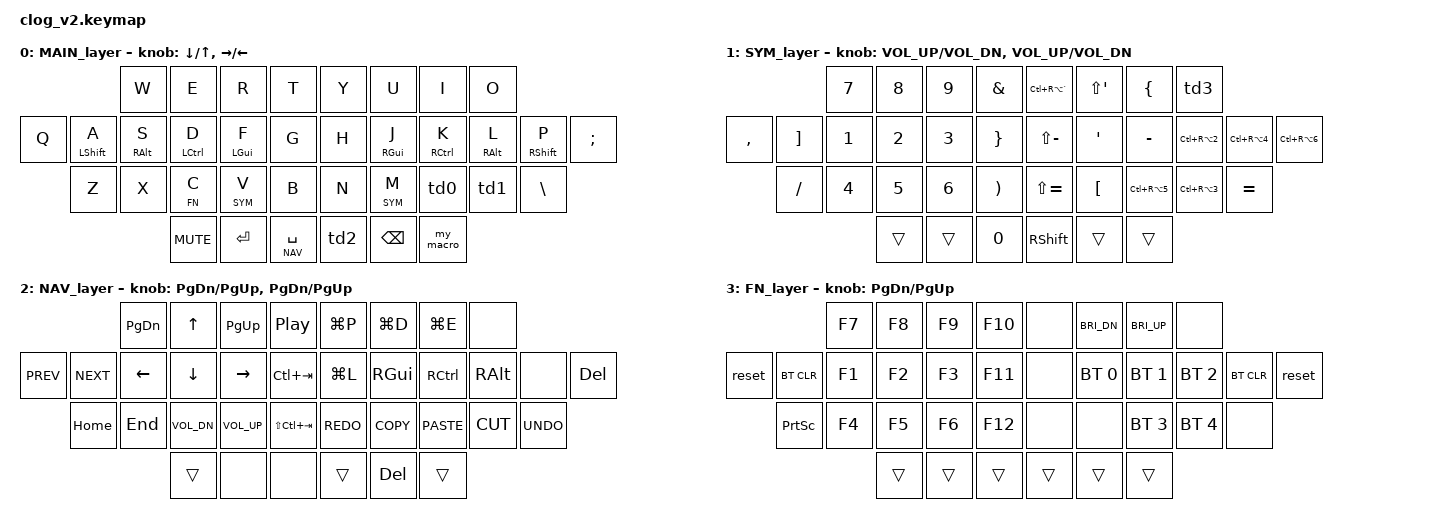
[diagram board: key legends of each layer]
#include <behaviors.dtsi>
#include <dt-bindings/zmk/keys.h>
#include <dt-bindings/zmk/bt.h>

#define MAIN 0
#define SYM 1
#define NAV 2
#define FN 3

&mt {
    flavor = "tap-preferred";
    tapping_term_ms = <250>;
};

/ {
    behaviors {
        dot_excl: dot_excl {
            compatible = "zmk,behavior-mod-morph";
            label = "DOT_EXCL";
            #binding-cells = <0>;
            bindings = <&kp DOT>, <&kp EXCL>;
            mods = <(MOD_LSFT|MOD_RSFT)>;
        };

        skq: sticky_key_quick_release {
            compatible = "zmk,behavior-sticky-key";
            label = "STICKY_KEY_QUICK_RELEASE";
            #binding-cells = <1>;
            bindings = <&kp>;
            release-after-ms = <1000>;
            quick-release;
        };

        my_macro: my_macro {
            compatible = "zmk,behavior-macro";
            label = "ZM_my_macro";
            #binding-cells = <0>;
            wait-ms = <30>;
            tap-ms = <40>;
            bindings = <&kp Z &kp M &kp K>;
        };

        td0: tap_dance_0 {
            compatible = "zmk,behavior-tap-dance";
            label = "TAP_DANCE_0";
            #binding-cells = <0>;
            tapping-term-ms = <200>;
            bindings = <&lt FN COMMA>, <&kp LS(COMMA)>;
        };
        
        td1: tap_dance_1 {
            compatible = "zmk,behavior-tap-dance";
            label = "TAP_DANCE_1";
            #binding-cells = <0>;
            tapping-term-ms = <200>;
            bindings = <&kp DOT>, <&kp LS(DOT)>;
        };

        td2: tap_dance_2 {
            compatible = "zmk,behavior-tap-dance";
            label = "TAP_DANCE_2";
            #binding-cells = <0>;
            tapping-term-ms = <200>;
            bindings = <&skq RSHFT>, <&kp LS(CAPS)>;
        };

        td3: tap_dance_3 {
            compatible = "zmk,behavior-tap-dance";
            label = "TAP_DANCE_3";
            #binding-cells = <0>;
            tapping-term-ms = <200>;
            bindings = <&kp GRAVE>, <&kp LC(RA(N1))>;
        };
    };

    combos {
        compatible = "zmk,combos";

        combo_esc {
            timeout-ms = <30>;
            key-positions = <21 22>;
            bindings = <&kp ESC>;
            layers = <0>;
        };

        combo_tab {
            timeout-ms = <30>;
            key-positions = <22 23>;
            bindings = <&kp TAB>;
            layers = <0>;
        };

        combo_o1 {
            timeout-ms = <30>;
            key-positions = <2 3>;
            bindings = <&kp LS(N8)>; // (
            layers = <0>;
        };

        combo_o2 {
            timeout-ms = <30>;
            key-positions = <12 13>;
            bindings = <&kp LC(RA(LBKT))>;  // [
            layers = <0>;
        };

        combo_o3 {
            timeout-ms = <30>;
            key-positions = <23 24>;
            bindings = <&kp LC(RA(SQT))>; // {
            layers = <0>;
        };

        combo_o4 {
            timeout-ms = <30>;
            key-positions = <11 12>;
            bindings = <&kp NON_US_BSLH>; // <
            layers = <0>;
        };

        combo_c1 {
            timeout-ms = <30>;
            key-positions = <4 5>;
            bindings = <&kp LS(N9)>;  // )
            layers = <0>;
        };

        combo_c2 {
            timeout-ms = <30>;
            key-positions = <14 15>;
            bindings = <&kp LC(RA(RBKT))>; // ]
            layers = <0>;
        };

        combo_c3 {
            timeout-ms = <30>;
            key-positions = <25 26>;
            bindings = <&kp LC(RA(BSLH))>; // }
            layers = <0>;
        };

        combo_c4 {
            timeout-ms = <30>;
            key-positions = <15 16>;
            bindings = <&kp LS(NON_US_BSLH)>; // >
            layers = <0>;
        };
    };

    /* 
          ╭───────────────────────╮      ╭────────────────────────╮
          │          0   1   2  3 │      │  4   5   6   7         │
          │ 8    9  10  11  12 13 │      │ 14  15  16  17  18  19 │
          │     20  21  22  23 24  ─╮ ╭─   25  26  27  28  29     │
          ╰─────────────╮(30) 31 32 │ │ 33 34 (35)╭───────────────╯
                        ╰───────────╯ ╰───────────╯           
    */

    keymap {
        compatible = "zmk,keymap";
    /* MAIN LAYER
          ╭──────────────────╮     ╭──────────────────╮
          │       w  e  r  t │     │ y  u  i  o       │
          │ q  a  x  d  f  g │     │ h  j  k  l  p  ñ │
          │    z  x  c  v  b  ─╮ ╭─  n  m  ,  .  ç    │
          ╰─────╮(M)  Ent  Spc │ │ RS  Bsp  (Ma)╭─────╯
                ╰──────────────╯ ╰──────────────╯           
    */
        MAIN_layer {
            bindings = <
                              &kp W      &kp E       &kp R      &kp T            &kp Y   &kp U  &kp I    &kp O
            &kp Q &mt LSHFT A &mt RALT S &mt LCTRL D &mt LGUI F &kp G            &kp H  &mt RGUI J &mt RCTRL K &mt RALT L &mt RSHFT P &kp SEMI
                  &kp Z       &kp X      &lt FN C    &lt SYM V  &kp B            &kp N  &lt SYM M  &td0        &td1       &kp BSLH
                                         &kp C_MUTE  &kp ENTER  &lt NAV SPC      &td2 &kp BSPC   &my_macro
            >;

			sensor-bindings = <&inc_dec_kp DOWN UP &inc_dec_kp RIGHT LEFT>;
        };

    /* SYM LAYER

          ╭──────────────────╮     ╭──────────────────╮
          │       7  8  9  / │     │ \  ¨  ^  º       │
          │ ,  +  1  2  3  * │     │ ?  ´  '  @  ~  ¬ │
          │    -  4  5  6  =  ─╮ ╭─  ¿  `  €  #  ¡    │
          ╰───────╮(M)  Ent  0 │ │ RS  Bsp  (M)╭──────╯
                  ╰────────────╯ ╰─────────────╯          
    */
        SYM_layer {
            bindings = <
                            &kp N7 &kp N8 &kp N9   &kp AMPS       &kp LC(RA(GRAVE)) &kp LS(SQT)  &kp LBRC &td3
            &kp COMMA &kp RBKT   &kp N1 &kp N2 &kp N3  &kp RBRC   &kp LS(MINUS)    &kp SQT  &kp MINUS &kp LC(RA(N2))   &kp LC(RA(N4))  &kp LC(RA(N6))
                  &kp SLASH &kp N4 &kp N5 &kp N6  &kp RPAR       &kp LS(EQUAL)  &kp LBKT  &kp LC(RA(N5)) &kp LC(RA(N3))   &kp EQUAL
                                   &trans &trans  &kp N0         &kp RSHFT &trans    &trans
            >;

			sensor-bindings = <&inc_dec_kp C_VOL_UP C_VOL_DN &inc_dec_kp C_VOL_UP C_VOL_DN>;
        };

        NAV_layer {
            bindings = <
                                  &kp PG_DN &kp UP       &kp PG_UP    &kp C_PP             &kp LG(P)  &kp LG(D)    &kp LG(E)    &none
            &kp C_PREV &kp C_NEXT &kp LEFT  &kp DOWN     &kp RIGHT    &kp LC(TAB)          &kp LG(L)  &kp RGUI     &kp RCTRL    &kp RALT    &none &kp DEL
                       &kp HOME   &kp END   &kp C_VOL_DN &kp C_VOL_UP &kp LS(LC(TAB))      &kp K_REDO &kp K_COPY   &kp K_PASTE  &kp K_CUT   &kp K_UNDO
                                            &trans       &none        &none                &trans     &kp DEL      &trans
            >;

			sensor-bindings = <&inc_dec_kp PG_DN PG_UP &inc_dec_kp PG_DN PG_UP>;
        };

        FN_layer {
            bindings = <
                              &kp F7 &kp F8 &kp F9 &kp F10      &none  &kp C_BRI_DN &kp C_BRI_UP &none
            &reset &bt BT_CLR &kp F1 &kp F2 &kp F3 &kp F11      &none  &bt BT_SEL 0 &bt BT_SEL 1 &bt BT_SEL 2 &bt BT_CLR &reset
                   &kp PSCRN  &kp F4 &kp F5 &kp F6 &kp F12      &none  &none        &bt BT_SEL 3 &bt BT_SEL 4 &none
                                     &trans &trans &trans       &trans &trans       &trans
            >;

			sensor-bindings = <&inc_dec_kp PG_DN PG_UP>;
        };
    };
};
